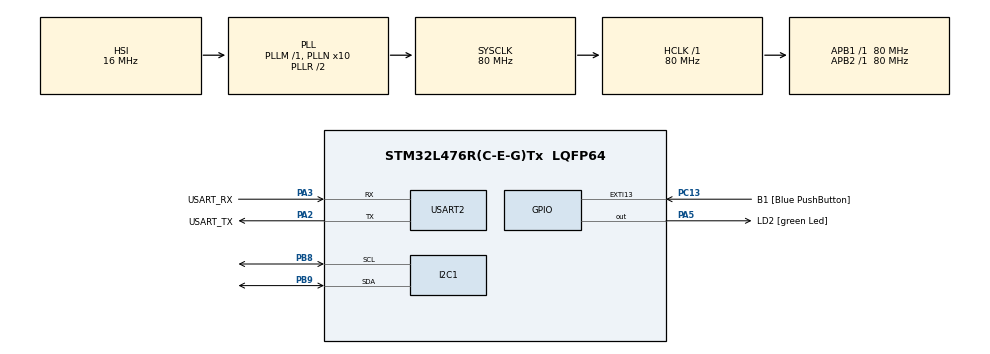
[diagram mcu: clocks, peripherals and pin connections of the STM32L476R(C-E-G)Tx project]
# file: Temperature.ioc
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I2C1.CustomTiming=Disabled
I2C1.Timing=0x10909CEC
Mcu.Family=STM32L4
Mcu.Name=STM32L476R(C-E-G)Tx
Mcu.Package=LQFP64
NVIC.PriorityGroup=NVIC_PRIORITYGROUP_4
PA13\ (JTMS-SWDIO).GPIO_Label=TMS
PA13\ (JTMS-SWDIO).Mode=Serial_Wire
PA13\ (JTMS-SWDIO).Signal=SYS_JTMS-SWDIO
PA14\ (JTCK-SWCLK).GPIO_Label=TCK
PA14\ (JTCK-SWCLK).Mode=Serial_Wire
PA14\ (JTCK-SWCLK).Signal=SYS_JTCK-SWCLK
PA2.GPIO_Label=USART_TX
PA2.GPIO_Mode=GPIO_MODE_AF_PP
PA2.GPIO_PuPd=GPIO_NOPULL
PA2.GPIO_Speed=GPIO_SPEED_FREQ_VERY_HIGH
PA2.Mode=Asynchronous
PA2.Signal=USART2_TX
PA3.GPIO_Label=USART_RX
PA3.GPIO_Mode=GPIO_MODE_AF_PP
PA3.GPIO_PuPd=GPIO_NOPULL
PA3.GPIO_Speed=GPIO_SPEED_FREQ_VERY_HIGH
PA3.Mode=Asynchronous
PA3.Signal=USART2_RX
PA5.GPIO_Label=LD2 [green Led]
PA5.GPIO_ModeDefaultOutputPP=GPIO_MODE_OUTPUT_PP
PA5.GPIO_PuPd=GPIO_NOPULL
PA5.GPIO_Speed=GPIO_SPEED_FREQ_LOW
PA5.Signal=GPIO_Output
PB3\ (JTDO-TRACESWO).GPIO_Label=SWO
PB3\ (JTDO-TRACESWO).Signal=SYS_JTDO-SWO
PB8.Mode=I2C
PB8.Signal=I2C1_SCL
PB9.Mode=I2C
PB9.Signal=I2C1_SDA
PC13.GPIO_Label=B1 [Blue PushButton]
PC13.GPIO_ModeDefaultEXTI=GPIO_MODE_IT_FALLING
PC13.GPIO_PuPd=GPIO_NOPULL
PC13.Signal=GPXTI13
PC14-OSC32_IN\ (PC14).Mode=LSE-External-Oscillator
PC14-OSC32_IN\ (PC14).Signal=RCC_OSC32_IN
PC15-OSC32_OUT\ (PC15).Mode=LSE-External-Oscillator
PC15-OSC32_OUT\ (PC15).Signal=RCC_OSC32_OUT
PH0-OSC_IN\ (PH0).Signal=RCC_OSC_IN
PH1-OSC_OUT\ (PH1).Signal=RCC_OSC_OUT
ProjectManager.HeapSize=0x200
ProjectManager.StackSize=0x400
ProjectManager.TargetToolchain=STM32CubeIDE
RCC.ADCFreq_Value=64000000
RCC.AHBFreq_Value=80000000
RCC.APB1Freq_Value=80000000
RCC.APB1TimFreq_Value=80000000
RCC.APB2Freq_Value=80000000
RCC.APB2TimFreq_Value=80000000
RCC.CortexFreq_Value=80000000
RCC.HCLKFreq_Value=80000000
RCC.HSE_VALUE=8000000
RCC.HSI_VALUE=16000000
RCC.MSI_VALUE=4000000
RCC.PLLN=10
RCC.PLLSourceVirtual=RCC_PLLSOURCE_HSI
RCC.PREFETCH_ENABLE=1
RCC.SYSCLKFreq_VALUE=80000000
RCC.SYSCLKSource=RCC_SYSCLKSOURCE_PLLCLK
RCC.USBFreq_Value=64000000
RCC.VCOOutputFreq_Value=160000000
USART2.VirtualMode-Asynchronous=VM_ASYNC
board=NUCLEO-L476RG

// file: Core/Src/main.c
/* USER CODE BEGIN Header */
/**
  ******************************************************************************
  * @file           : main.c
  * @brief          : Main program body
  ******************************************************************************
  * @attention
  *
  * Copyright (c) 2022 STMicroelectronics.
  * All rights reserved.
  *
  * This software is licensed under terms that can be found in the LICENSE file
  * in the root directory of this software component.
  * If no LICENSE file comes with this software, it is provided AS-IS.
  *
  ******************************************************************************
  */
/* USER CODE END Header */
#include "main.h"

/* USER CODE BEGIN Includes */
#include <string.h>
#include <stdio.h>
/* USER CODE END Includes */

I2C_HandleTypeDef hi2c1;

UART_HandleTypeDef huart2;

/* USER CODE BEGIN PV */
static const uint8_t STTS751_ADDR = 0x48 << 1; // Use 8-bit address
static const uint8_t REG_TEMP = 0x00;
/* USER CODE END PV */

void SystemClock_Config(void);
static void MX_GPIO_Init(void);
static void MX_USART2_UART_Init(void);
static void MX_I2C1_Init(void);

int main(void)
{
  /* USER CODE BEGIN 1 */
	  HAL_StatusTypeDef ret;
	  uint8_t buf[12];
	  int16_t val;
	  float temp_c;
  /* USER CODE END 1 */

  /* MCU Configuration--------------------------------------------------------*/

  /* Reset of all peripherals, Initializes the Flash interface and the Systick. */
  HAL_Init();

  /* Configure the system clock */
  SystemClock_Config();

  /* Initialize all configured peripherals */
  MX_GPIO_Init();
  MX_USART2_UART_Init();
  MX_I2C1_Init();

  /* Infinite loop */
  /* USER CODE BEGIN WHILE */
  while (1)
  {
	  // Tell STTS751 that we want to read from the temperature register
	     buf[0] = REG_TEMP;
	     ret = HAL_I2C_Master_Transmit(&hi2c1, STTS751_ADDR, buf, 1, HAL_MAX_DELAY);
	     if ( ret != HAL_OK ) {
	       strcpy((char*)buf, "Error Tx\r\n");
	     } else {

	       // Read 2 bytes from the temperature register
	       ret = HAL_I2C_Master_Receive(&hi2c1, STTS751_ADDR, buf, 2, HAL_MAX_DELAY);
	       if ( ret != HAL_OK ) {
	         strcpy((char*)buf, "Error Rx\r\n");
	       } else {

	           //Combine the bytes
	           val = ((int16_t)buf[0] << 4) | (buf[1] >> 4);

	           // Convert to 2's complement, since temperature can be negative
	           if ( val > 0x7FF ) {
	             val |= 0xF000;
	           }

	           // Convert to float temperature value (Celsius)
	           temp_c = val * 0.0625;

	           // Convert temperature to decimal format
	           temp_c *= 100;
	           sprintf((char*)buf,
	                 "%u.%02u C\r\n",
	                 ((unsigned int)temp_c / 100),
	                 ((unsigned int)temp_c % 100));
	         }
	       }

	       // Send out buffer (temperature or error message)
	       HAL_UART_Transmit(&huart2, buf, strlen((char*)buf), HAL_MAX_DELAY);

	       // Wait
	       HAL_Delay(500);
    /* USER CODE END WHILE */

  }
}

void SystemClock_Config(void)
{
  RCC_OscInitTypeDef RCC_OscInitStruct = {0};
  RCC_ClkInitTypeDef RCC_ClkInitStruct = {0};

  /** Configure the main internal regulator output voltage
  */
  if (HAL_PWREx_ControlVoltageScaling(PWR_REGULATOR_VOLTAGE_SCALE1) != HAL_OK)
  {
    Error_Handler();
  }
  /** Initializes the RCC Oscillators according to the specified parameters
  * in the RCC_OscInitTypeDef structure.
  */
  RCC_OscInitStruct.OscillatorType = RCC_OSCILLATORTYPE_HSI;
  RCC_OscInitStruct.HSIState = RCC_HSI_ON;
  RCC_OscInitStruct.HSICalibrationValue = RCC_HSICALIBRATION_DEFAULT;
  RCC_OscInitStruct.PLL.PLLState = RCC_PLL_ON;
  RCC_OscInitStruct.PLL.PLLSource = RCC_PLLSOURCE_HSI;
  RCC_OscInitStruct.PLL.PLLM = 1;
  RCC_OscInitStruct.PLL.PLLN = 10;
  RCC_OscInitStruct.PLL.PLLP = RCC_PLLP_DIV7;
  RCC_OscInitStruct.PLL.PLLQ = RCC_PLLQ_DIV2;
  RCC_OscInitStruct.PLL.PLLR = RCC_PLLR_DIV2;
  if (HAL_RCC_OscConfig(&RCC_OscInitStruct) != HAL_OK)
  {
    Error_Handler();
  }
  /** Initializes the CPU, AHB and APB buses clocks
  */
  RCC_ClkInitStruct.ClockType = RCC_CLOCKTYPE_HCLK|RCC_CLOCKTYPE_SYSCLK
                              |RCC_CLOCKTYPE_PCLK1|RCC_CLOCKTYPE_PCLK2;
  RCC_ClkInitStruct.SYSCLKSource = RCC_SYSCLKSOURCE_PLLCLK;
  RCC_ClkInitStruct.AHBCLKDivider = RCC_SYSCLK_DIV1;
  RCC_ClkInitStruct.APB1CLKDivider = RCC_HCLK_DIV1;
  RCC_ClkInitStruct.APB2CLKDivider = RCC_HCLK_DIV1;

  if (HAL_RCC_ClockConfig(&RCC_ClkInitStruct, FLASH_LATENCY_4) != HAL_OK)
  {
    Error_Handler();
  }
}

static void MX_I2C1_Init(void)
{

  hi2c1.Instance = I2C1;
  hi2c1.Init.Timing = 0x10909CEC;
  hi2c1.Init.OwnAddress1 = 0;
  hi2c1.Init.AddressingMode = I2C_ADDRESSINGMODE_7BIT;
  hi2c1.Init.DualAddressMode = I2C_DUALADDRESS_DISABLE;
  hi2c1.Init.OwnAddress2 = 0;
  hi2c1.Init.OwnAddress2Masks = I2C_OA2_NOMASK;
  hi2c1.Init.GeneralCallMode = I2C_GENERALCALL_DISABLE;
  hi2c1.Init.NoStretchMode = I2C_NOSTRETCH_DISABLE;
  if (HAL_I2C_Init(&hi2c1) != HAL_OK)
  {
    Error_Handler();
  }
  /** Configure Analogue filter
  */
  if (HAL_I2CEx_ConfigAnalogFilter(&hi2c1, I2C_ANALOGFILTER_ENABLE) != HAL_OK)
  {
    Error_Handler();
  }
  /** Configure Digital filter
  */
  if (HAL_I2CEx_ConfigDigitalFilter(&hi2c1, 0) != HAL_OK)
  {
    Error_Handler();
  }

}

static void MX_USART2_UART_Init(void)
{

  huart2.Instance = USART2;
  huart2.Init.BaudRate = 115200;
  huart2.Init.WordLength = UART_WORDLENGTH_8B;
  huart2.Init.StopBits = UART_STOPBITS_1;
  huart2.Init.Parity = UART_PARITY_NONE;
  huart2.Init.Mode = UART_MODE_TX_RX;
  huart2.Init.HwFlowCtl = UART_HWCONTROL_NONE;
  huart2.Init.OverSampling = UART_OVERSAMPLING_16;
  huart2.Init.OneBitSampling = UART_ONE_BIT_SAMPLE_DISABLE;
  huart2.AdvancedInit.AdvFeatureInit = UART_ADVFEATURE_NO_INIT;
  if (HAL_UART_Init(&huart2) != HAL_OK)
  {
    Error_Handler();
  }

}

static void MX_GPIO_Init(void)
{
  GPIO_InitTypeDef GPIO_InitStruct = {0};

  /* GPIO Ports Clock Enable */
  __HAL_RCC_GPIOC_CLK_ENABLE();
  __HAL_RCC_GPIOH_CLK_ENABLE();
  __HAL_RCC_GPIOA_CLK_ENABLE();
  __HAL_RCC_GPIOB_CLK_ENABLE();

  /*Configure GPIO pin Output Level */
  HAL_GPIO_WritePin(LD2_GPIO_Port, LD2_Pin, GPIO_PIN_RESET);

  /*Configure GPIO pin : B1_Pin */
  GPIO_InitStruct.Pin = B1_Pin;
  GPIO_InitStruct.Mode = GPIO_MODE_IT_FALLING;
  GPIO_InitStruct.Pull = GPIO_NOPULL;
  HAL_GPIO_Init(B1_GPIO_Port, &GPIO_InitStruct);

  /*Configure GPIO pin : LD2_Pin */
  GPIO_InitStruct.Pin = LD2_Pin;
  GPIO_InitStruct.Mode = GPIO_MODE_OUTPUT_PP;
  GPIO_InitStruct.Pull = GPIO_NOPULL;
  GPIO_InitStruct.Speed = GPIO_SPEED_FREQ_LOW;
  HAL_GPIO_Init(LD2_GPIO_Port, &GPIO_InitStruct);

}

void Error_Handler(void)
{
  __disable_irq();
  while (1)
  {
  }
}
